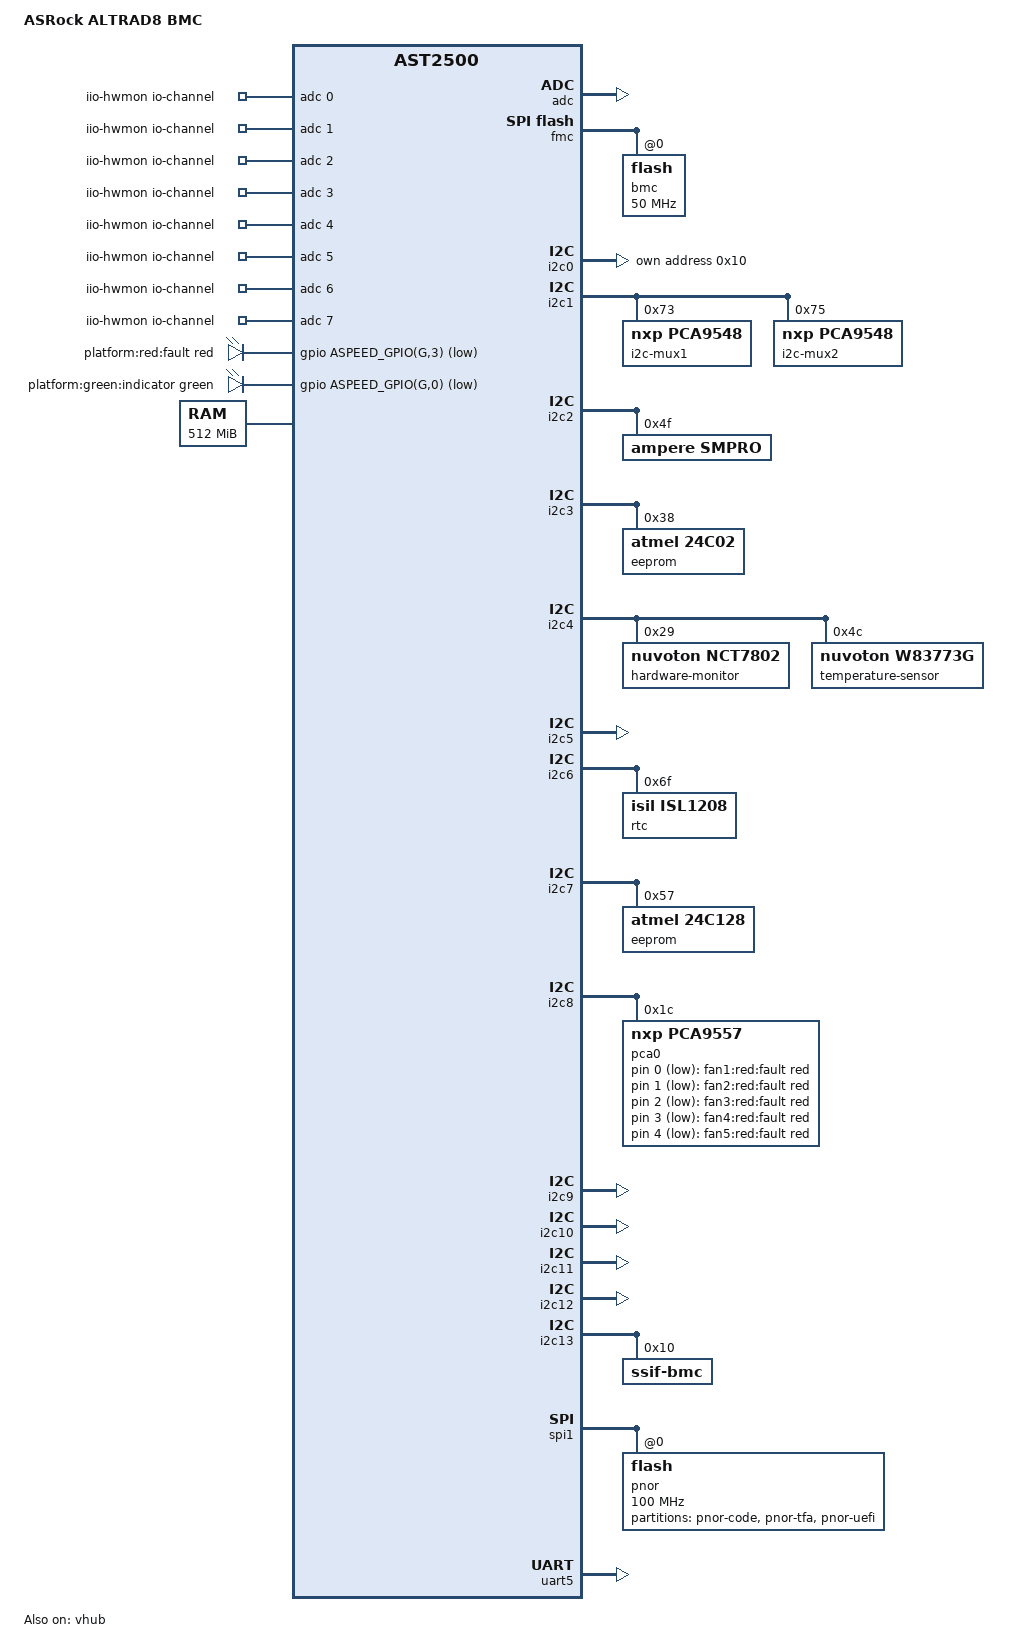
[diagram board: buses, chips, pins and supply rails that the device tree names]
// SPDX-License-Identifier: GPL-2.0+
/dts-v1/;

#include "aspeed-g5.dtsi"
#include <dt-bindings/gpio/aspeed-gpio.h>
#include <dt-bindings/leds/common.h>
#include <dt-bindings/i2c/i2c.h>

/ {
	model = "ASRock ALTRAD8 BMC";
	compatible = "asrock,altrad8-bmc", "aspeed,ast2500";

	aliases {
		serial4 = &uart5;
		i2c50 = &nvme1;
		i2c51 = &pcie4;
		i2c52 = &pcie5;
		i2c53 = &pcie6;
		i2c54 = &pcie7;
		i2c55 = &nvme3;
		i2c56 = &nvme2;
		i2c57 = &nvme0;
		i2c58 = &nvme4;
		i2c59 = &nvme5;
		i2c60 = &nvme6;
		i2c61 = &nvme7;
		i2c62 = &nvme8;
		i2c63 = &nvme9;
		i2c64 = &nvme10;
		i2c65 = &nvme11;
	};

	chosen {
		stdout-path = "uart5:115200n8";
	};

	iio-hwmon {
		compatible = "iio-hwmon";
		io-channels =	<&adc 0>, <&adc 1>, <&adc 2>, <&adc 3>,
				<&adc 4> ,<&adc 5>, <&adc 6>, <&adc 7>,
				<&adc 8>, <&adc 9>, <&adc 10>, <&adc 11>,
				<&adc 12>, <&adc 13>, <&adc 14>, <&adc 15>;
	};

	leds {
		compatible = "gpio-leds";

		led-system-fault {
			gpios = <&gpio ASPEED_GPIO(G,3) GPIO_ACTIVE_LOW>;
			label = "platform:red:fault";
			color = <LED_COLOR_ID_RED>;
			function = LED_FUNCTION_FAULT;
		};

		led-enclosure-identify {
			gpios = <&gpio ASPEED_GPIO(G,0) GPIO_ACTIVE_LOW>;
			label = "platform:green:indicator";
			color = <LED_COLOR_ID_GREEN>;
			function = LED_FUNCTION_INDICATOR;
		};

		led-fan1-fault {
			retain-state-shutdown;
			default-state = "off";
			gpios = <&pca0 0 GPIO_ACTIVE_LOW>;
			label = "fan1:red:fault";
			color = <LED_COLOR_ID_RED>;
			function = LED_FUNCTION_FAULT;
		};

		led-fan2-fault {
			retain-state-shutdown;
			default-state = "off";
			gpios = <&pca0 1 GPIO_ACTIVE_LOW>;
			label = "fan2:red:fault";
			color = <LED_COLOR_ID_RED>;
			function = LED_FUNCTION_FAULT;
		};

		led-fan3-fault {
			retain-state-shutdown;
			default-state = "off";
			gpios = <&pca0 2 GPIO_ACTIVE_LOW>;
			label = "fan3:red:fault";
			color = <LED_COLOR_ID_RED>;
			function = LED_FUNCTION_FAULT;
		};

		led-fan4-fault {
			retain-state-shutdown;
			default-state = "off";
			gpios = <&pca0 3 GPIO_ACTIVE_LOW>;
			label = "fan4:red:fault";
			color = <LED_COLOR_ID_RED>;
			function = LED_FUNCTION_FAULT;
		};

		led-fan5-fault {
			retain-state-shutdown;
			default-state = "off";
			gpios = <&pca0 4 GPIO_ACTIVE_LOW>;
			label = "fan5:red:fault";
			color = <LED_COLOR_ID_RED>;
			function = LED_FUNCTION_FAULT;
		};
	};

	memory@80000000 {
		reg = <0x80000000 0x20000000>;
	};

	reserved-memory {
		#address-cells = <1>;
		#size-cells = <1>;
		ranges;

		gfx_memory: framebuffer {
			compatible = "shared-dma-pool";
			size = <0x01000000>;
			alignment = <0x01000000>;
			reusable;
		};

		vga_memory: framebuffer@9f000000 {
			no-map;
			reg = <0x9f000000 0x01000000>; /* 16M */
		};

		video_engine_memory: jpegbuffer {
			compatible = "shared-dma-pool";
			size = <0x02000000>;	/* 32M */
			alignment = <0x01000000>;
			reusable;
		};
	};
};

&adc {
	status = "okay";
};

&fmc {
	flash@0 {
		label = "bmc";
		m25p,fast-read;
		spi-max-frequency = <50000000>;
#include "openbmc-flash-layout-64.dtsi"
	};
};

&gfx {
	memory-region = <&gfx_memory>;
};

&gpio {
	gpio-line-names =
	/*A0-A7*/	"","","","BMC_READY","","","","",
	/*B0-B7*/	"i2c-backup-sel","","","","","","","host0-shd-ack-n",
	/*C0-C7*/	"","","","","","","","",
	/*D0-D7*/	"POWER_BUTTON","POWER_OUT","RESET_BUTTON",
			"host0-sysreset-n","","","SYS_PWR_GD","",
	/*E0-E7*/	"","s0-vrd1-vddq0123-fault-l",
			"s0-vrd1-vddq4567-fault-l","s0-vrd0-vddc-fault-l",
			"s0-vrd3-p0v75-fault-l","","","",
	/*F0-F7*/	"","","SYS_ATX_PSON_L","","","","","",
	/*G0-G7*/	"id-led","id-button","","","UBOOT_READY",\
			"BMC_SALT2_L","","",
	/*H0-H7*/	"PS_PWROK","uart1-mode1","uart2-mode1","uart3-mode1",
			"uart4-mode1","","BMC_HB_LED","",
	/*I0-I7*/	"","","","","","","","",
	/*J0-J7*/	"s0-hightemp-n","","","","","","","",
	/*K0-K7*/	"","","","","","","","",
	/*L0-L7*/	"","","","","","","","",
	/*M0-M7*/	"","","","","","s0-spi-auth-fail-n","","",
	/*N0-N7*/	"","","","","","","","",
	/*O0-O7*/	"","","","","","","","",
	/*P0-P7*/	"","","CPLD_DISABLE_BMC","","","","","",
	/*Q0-Q7*/	"","","ext-hightemp-n","","","","",
			"CHASSIS_INTRUSION",
	/*R0-R7*/	"","","EXT_HIGHTEMP_L","spi0-program-sel","",
			"HWM_BAT_EN","","",
	/*S0-S7*/	"s0-vr-hot-n","","","BMC_SYSRESET_L","","","","",
	/*T0-T7*/	"","","","","","","","",
	/*U0-U7*/	"","","","","","","","",
	/*V0-V7*/	"","","","","","","","",
	/*W0-W7*/	"","","","","","","","",
	/*X0-X7*/	"","","","","","","","",
	/*Y0-Y7*/	"SIOS3","SIOS5","SIOPWREQ","SIOONCTRL","","","","",
	/*Z0-Z7*/	"","SIOPWRGD","","s0-rtc-lock","","","","",
	/*AA0-AA7*/	"RTC_INT","","","","","PMBUS_SEL_N","","",
	/*AB0-AB7*/	"host0-reboot-ack-n","s0-sys-auth-failure-n",
			"","","","","","",
	/*AC0-AC7*/	"s0-fault-alert","host0-ready","s0-overtemp-n",
			"","bmc-ok","host0-special-boot","presence-cpu0",
			"host0-shd-req-n";
};

&i2c0 {
	bus-frequency = <100000>;

	ipmb@10 {
		compatible = "ipmb-dev";
		reg = <(0x10 | I2C_OWN_SLAVE_ADDRESS)>;
		i2c-protocol;
	};

};

&i2c1 {
	bus-frequency = <100000>;

	i2c-mux1@73 {
		compatible = "nxp,pca9548";
		reg = <0x73>;
		#address-cells = <1>;
		#size-cells = <0>;
		i2c-mux-idle-disconnect;

		nvme1: i2c@0 {
			#address-cells = <1>;
			#size-cells = <0>;
			reg = <0>;
		};

		pcie4: i2c@1 {
			#address-cells = <1>;
			#size-cells = <0>;
			reg = <1>;
		};

		pcie5: i2c@2 {
			#address-cells = <1>;
			#size-cells = <0>;
			reg = <2>;
		};

		pcie6: i2c@3 {
			#address-cells = <1>;
			#size-cells = <0>;
			reg = <3>;
		};

		pcie7: i2c@4 {
			#address-cells = <1>;
			#size-cells = <0>;
			reg = <4>;
		};

		nvme3: i2c@5 {
			#address-cells = <1>;
			#size-cells = <0>;
			reg = <5>;
		};

		nvme2: i2c@6 {
			#address-cells = <1>;
			#size-cells = <0>;
			reg = <6>;
		};

		nvme0: i2c@7 {
			#address-cells = <1>;
			#size-cells = <0>;
			reg = <7>;
		};
	};

	i2c-mux2@75 {
		compatible = "nxp,pca9548";
		reg = <0x75>;
		#address-cells = <1>;
		#size-cells = <0>;
		i2c-mux-idle-disconnect;

		nvme4: i2c@0 {
			#address-cells = <1>;
			#size-cells = <0>;
			reg = <0>;
		};

		nvme5: i2c@1 {
			#address-cells = <1>;
			#size-cells = <0>;
			reg = <1>;
		};

		nvme6: i2c@2 {
			#address-cells = <1>;
			#size-cells = <0>;
			reg = <2>;
		};

		nvme7: i2c@3 {
			#address-cells = <1>;
			#size-cells = <0>;
			reg = <3>;
		};

		nvme8: i2c@4 {
			#address-cells = <1>;
			#size-cells = <0>;
			reg = <4>;
		};

		nvme9: i2c@5 {
			#address-cells = <1>;
			#size-cells = <0>;
			reg = <5>;
		};

		nvme10: i2c@6 {
			#address-cells = <1>;
			#size-cells = <0>;
			reg = <6>;
		};

		nvme11: i2c@7 {
			#address-cells = <1>;
			#size-cells = <0>;
			reg = <7>;
		};
	};
};

&i2c2 {
	bus-frequency = <100000>;

	smpro@4f {
		compatible = "ampere,smpro";
		reg = <0x4f>;
	};
};

&i2c3 {
	// PSU FRU
	eeprom@38 {
		compatible = "atmel,24c02";
		reg = <0x38>;
	};
};

&i2c4 {
	bus-frequency = <100000>;

	hardware-monitor@29 {
		compatible = "nuvoton,nct7802";
		reg = <0x29>;

		#address-cells = <1>;
		#size-cells = <0>;

		channel@0 { /* LTD */
			reg = <0>;
		};

		channel@1 { /* RTD1 */
				reg = <1>;
				sensor-type = "temperature";
				temperature-mode = "thermistor";
		};

		channel@2 { /* RTD2 */
				reg = <2>;
				sensor-type = "temperature";
				temperature-mode = "thermal-diode";
		};
	};

	temperature-sensor@4c {
		compatible = "nuvoton,w83773g";
		reg = <0x4c>;
	};
};

&i2c5 {
	status = "okay";
};

&i2c6 {
	bus-frequency = <100000>;

	rtc@6f {
		compatible = "isil,isl1208";
		reg = <0x6f>;
	};
};

&i2c7 {
	bus-frequency = <100000>;

	// BMC FRU
	eeprom@57 {
		compatible = "atmel,24c128";
		reg = <0x57>;

		nvmem-layout {
			compatible = "fixed-layout";
			#address-cells = <1>;
			#size-cells = <1>;

			eth0_macaddress: macaddress@3f88 {
				reg = <0x3f88 6>;
			};

			eth1_macaddress: macaddress@3f80 {
				reg = <0x3f80 6>;
			};
		};
	};
};

&i2c8 {
	bus-frequency = <100000>;

	pca0: gpio@1c {
		compatible = "nxp,pca9557";
		reg = <0x1c>;
		#address-cells = <1>;
		#size-cells = <0>;

		gpio-controller;
		#gpio-cells = <2>;

		gpio@0 {
			reg = <0>;
		};

		gpio@1 {
			reg = <1>;
		};

		gpio@2 {
			reg = <2>;
		};

		gpio@3 {
			reg = <3>;
		};

		gpio@4 {
			reg = <4>;
		};

		gpio@5 {
			reg = <5>;
		};

		gpio@6 {
			reg = <6>;
		};

		gpio@7 {
			reg = <7>;
		};
	};
};

&i2c9 {
	status = "okay";
};

&i2c10 {
	status = "okay";
};

&i2c11 {
	status = "okay";
};

&i2c12 {
	status = "okay";
};

&i2c13 {
	bus-frequency = <100000>;

	ssif-bmc@10 {
		compatible = "ssif-bmc";
		reg = <0x10>;
	};
};

// Connected to host Intel X550 (ALTRAD8UD-1L2T) or
// Broadcom BCM57414 (ALTRAD8UD2-1L2Q) interface
&mac0 {
	pinctrl-names = "default";
	pinctrl-0 = <&pinctrl_rmii1_default>;

	clocks = <&syscon ASPEED_CLK_GATE_MAC1CLK>,
		 <&syscon ASPEED_CLK_MAC1RCLK>;
	clock-names = "MACCLK", "RCLK";

	use-ncsi;

	nvmem-cells = <&eth0_macaddress>;
	nvmem-cell-names = "mac-address";
};

// Connected to Realtek RTL8211E
&mac1 {
	pinctrl-names = "default";
	pinctrl-0 = <&pinctrl_rgmii2_default &pinctrl_mdio2_default>;

	nvmem-cells = <&eth1_macaddress>;
	nvmem-cell-names = "mac-address";
};

&pinctrl {
	aspeed,external-nodes = <&gfx &lhc>;
};

&pwm_tacho {
	pinctrl-names = "default";
	pinctrl-0 = <&pinctrl_pwm0_default
			&pinctrl_pwm1_default
			&pinctrl_pwm2_default
			&pinctrl_pwm3_default
			&pinctrl_pwm4_default
			&pinctrl_pwm5_default
			&pinctrl_pwm6_default
			&pinctrl_pwm7_default>;

	fan@0 {
		reg = <0x00>;
		aspeed,fan-tach-ch = /bits/ 8 <0x00 0x08>;
	};

	fan@1 {
		reg = <0x01>;
		aspeed,fan-tach-ch = /bits/ 8 <0x01 0x09>;
	};

	fan@2 {
		reg = <0x02>;
		aspeed,fan-tach-ch = /bits/ 8 <0x02 0x0a>;
	};

	fan@3 {
		reg = <0x03>;
		aspeed,fan-tach-ch = /bits/ 8 <0x03 0x0b>;
	};

	fan@4 {
		reg = <0x04>;
		aspeed,fan-tach-ch = /bits/ 8 <0x04 0x0c>;
	};

	fan@5 {
		reg = <0x05>;
		aspeed,fan-tach-ch = /bits/ 8 <0x05 0x0d>;
	};

	fan@6 {
		reg = <0x06>;
		aspeed,fan-tach-ch = /bits/ 8 <0x06 0x0e>;
	};

	fan@7 {
		reg = <0x07>;
		aspeed,fan-tach-ch = /bits/ 8 <0x07 0x0f>;
	};
};

&spi1 {
	pinctrl-names = "default";
	pinctrl-0 = <&pinctrl_spi1_default>;

	flash@0 {
		m25p,fast-read;
		label = "pnor";
		spi-max-frequency = <100000000>;

		partitions {
			compatible = "fixed-partitions";
			#address-cells = <1>;
			#size-cells = <1>;

			code@400000 {
				reg = <0x400000 0x1C00000>;
				label = "pnor-code";
			};

			tfa@400000 {
				reg = <0x400000 0x200000>;
				label = "pnor-tfa";
			};

			uefi@600000 {
				reg = <0x600000 0x1A00000>;
				label = "pnor-uefi";
			};
		};
	};
};

&uart1 {
	pinctrl-names = "default";
	pinctrl-0 = <&pinctrl_txd1_default
			 &pinctrl_rxd1_default
			 &pinctrl_ncts1_default
			 &pinctrl_nrts1_default>;
};

&uart2 {
	pinctrl-names = "default";
	pinctrl-0 = <&pinctrl_txd2_default
			 &pinctrl_rxd2_default>;
};

&uart3 {
	pinctrl-names = "default";
	pinctrl-0 = <&pinctrl_txd3_default
			 &pinctrl_rxd3_default>;
};

&uart4 {
	pinctrl-names = "default";
	pinctrl-0 = <&pinctrl_txd4_default
			 &pinctrl_rxd4_default>;
};

// The BMC's uart
&uart5 {
	status = "okay";
};

&vhub {
	status = "okay";
};

&video {
	memory-region = <&video_engine_memory>;
};
